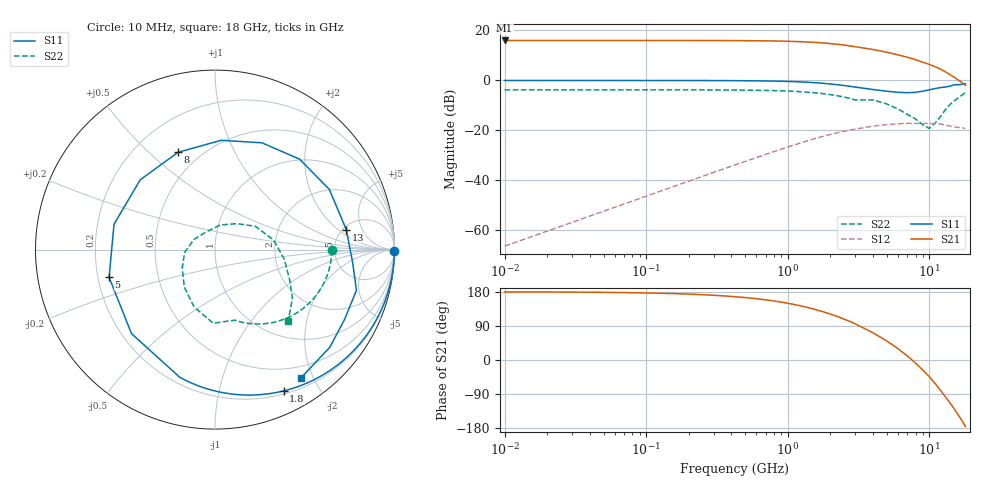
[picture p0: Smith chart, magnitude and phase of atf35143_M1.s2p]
!atf35143 Model1
!2V 10mA
# ghz s ma r 50
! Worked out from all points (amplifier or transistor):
!   83 points, 10 MHz to 18 GHz, reference 50 ohm
!   highest |S21| = 16.0 dB at 10 MHz (marker M1)
!   |S21| within 3 dB of that: start of sweep to 3.443 GHz
!   unconditionally stable (mu >= 1): 8.304 GHz to end of sweep
!   at 300 MHz: K = 0.05, MSG = 26.4 dB, |S12| = -36.8 dB
!   at 1.7 GHz: K = 0.28, MSG = 18.9 dB, |S12| = -22.6 dB
!   at 18 GHz: K = 1.41, MAG = 4.9 dB, |S12| = -19.3 dB
!   lowest NFmin = 0.07 dB at 10 MHz
!   S11 on the Smith chart (normalised r, x): 10 MHz: open; 1.8 GHz: 0.23, -1.57; 5 GHz: 0.25, -0.12; 8 GHz: 0.38, +0.62; 13 GHz: 5.37, +2.63; 18 GHz: 0.33, -1.83
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0.01  0.9994 -0.4  6.315 179.7  0.0004859 88.9  0.6504 -0.3
0.04  0.9993 -1.4  6.315 178.8  0.001943 88.8  0.6504 -1.1
0.15  0.9984 -5.4  6.31 175.4  0.007281 86.2  0.6496 -3.9
0.25  0.9966 -9.0  6.3 172.4  0.01212 83.7  0.6481 -6.6
0.45  0.9903 -16.2  6.265 166.3  0.02168 78.7  0.6428 -11.8
0.65  0.9806 -23.4  6.213 160.2  0.03103 73.8  0.6346 -17.0
0.9  0.964 -32.3  6.122 152.7  0.0423 67.7  0.6206 -23.5
1.2  0.9386 -43.0  5.981 143.8  0.055 60.5  0.5989 -31.1
1.5  0.9085 -53.6  5.81 135.2  0.06663 53.5  0.5726 -38.6
1.8  0.8751 -64.1  5.616 126.7  0.07707 46.7  0.5429 -46.0
2.35  0.8105 -83.2  5.22 111.9  0.09294 34.9  0.4826 -59.2
3  0.7381 -105.4  4.725 95.4  0.1064 22.1  0.4085 -74.3
4  0.66 -134.8  4.17 72.0  0.122 9.0  0.41 -91.5
5  0.61 -165.3  3.67 50.4  0.131 -6.0  0.34 -110.0
6  0.58 165.9  3.26 30.3  0.136 -20.1  0.27 -129.2
7  0.57 137.0  2.91 10.7  0.139 -33.8  0.21 -150.5
8  0.58 110.8  2.61 -8.1  0.139 -45.6  0.17 -174.8
10  0.65 66.2  2.1 -43.9  0.138 -68.2  0.11 118.2
11  0.69 46.9  1.89 -62.0  0.137 -79.3  0.14 78.4
13  0.74 8.6  1.49 -97.2  0.129 -102.2  0.26 29.9
15  0.82 -16.0  1.16 -128.7  0.118 -120.1  0.39 -8.0
18  0.86 -56.1  0.8 -175.2  0.108 -149.2  0.57 -44.4
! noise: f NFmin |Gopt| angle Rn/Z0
0.01  0.06573  0.9096  0.1711  0.1598
0.09  0.06646  0.9086  1.54  0.1598
0.45  0.08228  0.8881  7.713  0.1587
0.85  0.1145  0.8474  14.64  0.1559
1.25  0.1532  0.8001  21.72  0.1514
1.7  0.2  0.7445  29.94  0.1444
2.1  0.243  0.6946  37.58  0.1368
2.5  0.2869  0.645  45.62  0.128
2.9  0.3314  0.5962  54.19  0.1182
10  1.16  0.37  -81.8  0.22
